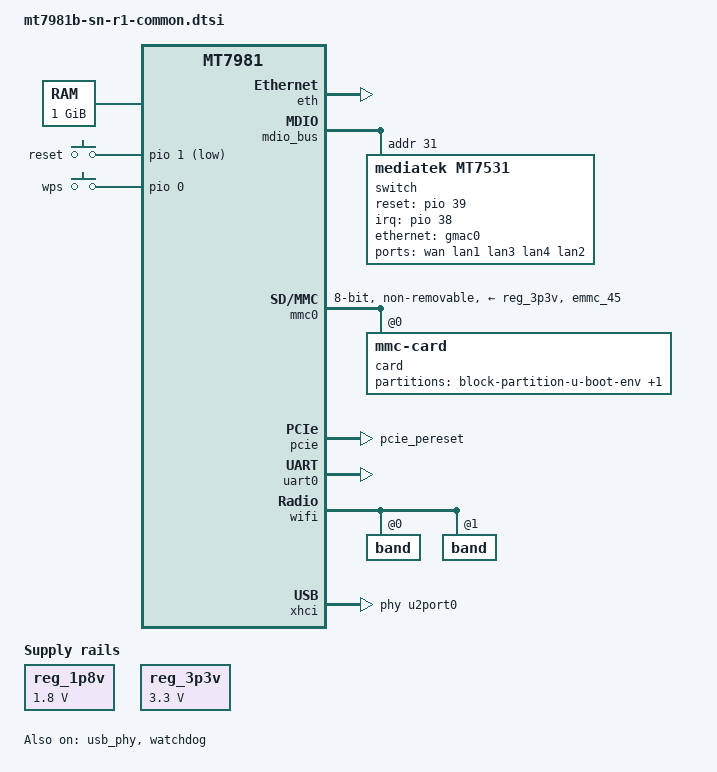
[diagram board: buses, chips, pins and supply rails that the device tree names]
// SPDX-License-Identifier: GPL-2.0-or-later OR MIT

#include "mt7981.dtsi"

/ {
	chosen {
		bootargs = "root=PARTLABEL=rootfs rootwait";
		stdout-path = "serial0:115200n8";
	};

	memory@40000000 {
		reg = <0 0x40000000 0 0x40000000>;
	};

	reg_1p8v: regulator-1p8v {
		compatible = "regulator-fixed";
		regulator-name = "fixed-1.8V";
		regulator-min-microvolt = <1800000>;
		regulator-max-microvolt = <1800000>;
		regulator-always-on;
	};

	reg_3p3v: regulator-3p3v {
		compatible = "regulator-fixed";
		regulator-name = "fixed-3.3V";
		regulator-min-microvolt = <3300000>;
		regulator-max-microvolt = <3300000>;
		regulator-boot-on;
		regulator-always-on;
	};

	gpio-keys {
		compatible = "gpio-keys";

		button-reset {
			label = "reset";
			linux,code = <KEY_RESTART>;
			gpios = <&pio 1 GPIO_ACTIVE_LOW>;
		};

		button-wps {
			label = "wps";
			linux,code = <KEY_WPS_BUTTON>;
			gpios = <&pio 0 GPIO_ACTIVE_HIGH>;
		};
	};
};

&eth {
	pinctrl-names = "default";
	pinctrl-0 = <&mdio_pins>;
	status = "okay";

	gmac0: mac@0 {
		compatible = "mediatek,eth-mac";
		reg = <0>;
		phy-mode = "2500base-x";
		nvmem-cells = <&macaddr_factory_a002a 0>;
		nvmem-cell-names = "mac-address";

		fixed-link {
			speed = <2500>;
			full-duplex;
			pause;
		};
	};

	gmac1: mac@1 {
		compatible = "mediatek,eth-mac";
		reg = <1>;
		status = "disabled";
	};
};

&mdio_bus {
	switch: switch@1f {
		compatible = "mediatek,mt7531";
		reg = <31>;
		reset-gpios = <&pio 39 GPIO_ACTIVE_HIGH>;
		interrupt-controller;
		#interrupt-cells = <1>;
		interrupt-parent = <&pio>;
		interrupts = <38 IRQ_TYPE_LEVEL_HIGH>;
	};
};

&mmc0 {
	bus-width = <8>;
	cap-mmc-highspeed;
	max-frequency = <100000000>;
	mmc-hs200-1_8v;
	no-sd;
	no-sdio;
	non-removable;
	pinctrl-names = "default", "state_uhs";
	pinctrl-0 = <&mmc0_pins_default>;
	pinctrl-1 = <&mmc0_pins_uhs>;
	vmmc-supply = <&reg_3p3v>;
	vqmmc-supply = <&reg_1p8v>;
	status = "okay";

	card@0 {
		compatible = "mmc-card";
		reg = <0>;

		block {
			compatible = "block-device";

			partitions {
				block-partition-u-boot-env {
					partname = "uboot_env";
				};

				block-partition-factory {
					partname = "factory";

					nvmem-layout {
						compatible = "fixed-layout";
						#address-cells = <1>;
						#size-cells = <1>;

						eeprom_factory_0: eeprom@0 {
							reg = <0x0 0x1000>;
						};

						macaddr_factory_a0024: macaddr@a0024 {
							compatible = "mac-base";
							reg = <0xa0024 0x6>;
							#nvmem-cell-cells = <1>;
						};

						macaddr_factory_a002a: macaddr@a002a {
							compatible = "mac-base";
							reg = <0xa002a 0x6>;
							#nvmem-cell-cells = <1>;
						};
					};
				};
			};
		};
	};
};

&pcie {
	pinctrl-names = "default";
	pinctrl-0 = <&pcie_pins>;
	status = "okay";
};

&pio {
	mmc0_pins_default: mmc0-pins-default {
		mux {
			function = "flash";
			groups = "emmc_45";
		};
	};

	mmc0_pins_uhs: mmc0-pins-uhs {
		mux {
			function = "flash";
			groups = "emmc_45";
		};
	};

	pcie_pins: pcie-pins {
		mux {
			function = "pcie";
			groups = "pcie_pereset";
		};
	};
};

&switch {
	ports {
		#address-cells = <1>;
		#size-cells = <0>;

		port@0 {
			reg = <0>;
			label = "wan";
			nvmem-cells = <&macaddr_factory_a0024 0>;
			nvmem-cell-names = "mac-address";
		};

		port@1 {
			reg = <1>;
			label = "lan1";
		};

		port@2 {
			reg = <2>;
			label = "lan3";
		};

		port@3 {
			reg = <3>;
			label = "lan4";
		};

		port@4 {
			reg = <4>;
			label = "lan2";
		};

		port@6 {
			reg = <6>;
			ethernet = <&gmac0>;
			phy-mode = "2500base-x";

			fixed-link {
				speed = <2500>;
				full-duplex;
				pause;
			};
		};
	};
};

&uart0 {
	status = "okay";
};

&usb_phy {
	status = "okay";
};

&watchdog {
	status = "okay";
};

&wifi {
	nvmem-cells = <&eeprom_factory_0>;
	nvmem-cell-names = "eeprom";
	status = "okay";

	band@0 {
		reg = <0>;
		nvmem-cells = <&macaddr_factory_a002a 1>;
		nvmem-cell-names = "mac-address";
	};

	band@1 {
		reg = <1>;
		nvmem-cells = <&macaddr_factory_a002a 2>;
		nvmem-cell-names = "mac-address";
	};
};

&xhci {
	phys = <&u2port0 PHY_TYPE_USB2>;
	mediatek,u3p-dis-msk = <0x01>;
	status = "okay";
};
